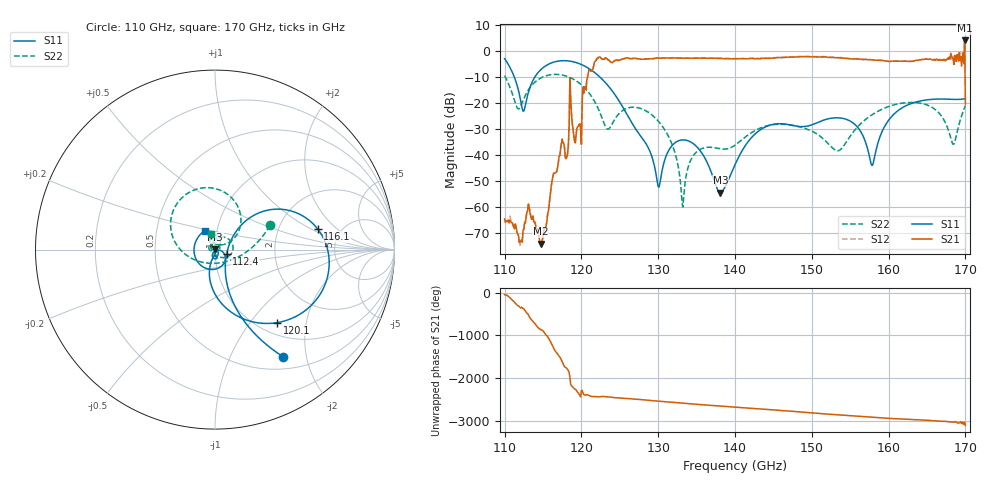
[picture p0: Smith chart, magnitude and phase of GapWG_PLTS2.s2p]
!Keysight Technologies PLTS 2023U1(64 bit), Build 20230630.1
!Deembedding/AFR applied
!FILE: C:\Users\jaha\OneDrive - Nokia\Project\Deacon_v3\Measure\250307 MPW12 GapWG\GapWG_Line2.s2p
!$DUT_CFG_DESC: Default 2-Port Configuration
!$NUMBER_PORTS: 2
!$DIFF_PORT_MAP: 1|1P|2|1P|
!$PORT_MAP: 1|1|<<<<<<|2|2|>>>>>>|
!Date: Thursday, March 20, 2025, 10:12:42
!S2P File: Measurements: S11,S21,S12,S22:
# MHz S  RI  R 50
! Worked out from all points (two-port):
!   601 points, 110 GHz to 170 GHz, reference 50 ohm
!   highest |S21| = 3.95 dB at 169.9 GHz (marker M1); lowest = -74.1 dB at 114.7 GHz (marker M2)
!   |S21| within 3 dB of the highest: 169.8656 GHz to 169.9123 GHz (46.73 MHz wide, 0.0275 % of centre)
!   lowest |S11| = -54.4 dB at 138.1 GHz (marker M3), VSWR 1.00, Z = 50.1 + j0.131 ohm
!   |S11| at or under -10 dB: 111.2 GHz to 114 GHz (2.711 GHz wide, 2.41 % of centre); 122.4 GHz to end of sweep
!   |S22| runs from -60.0 to -9.1 dB; largest |S21 - S12| = 0.48
!   S11 on the Smith chart (normalised r, x): 110 GHz: 0.68, -1.61; 112.4 GHz: 1.14, -0.06; 116.1 GHz: 3.36, +1.17; 120.1 GHz: 1.21, -1.38; 170 GHz: 0.87, +0.19
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110000  0.3776 -0.5958  0.000399 -0.000436  0.000267 -0.000537  0.3059 0.1351
112400  0.0644 -0.0259  0.000353 -7.84e-05  0.000329 -4.71e-05  -0.0888 -0.0658
113200  0.1318 0.12  -0.000924 0.000371  -0.000881 0.000378  -0.1868 -0.00711
114700  0.368 0.2249  -0.000162 -0.000114  -0.000175 -0.000107  -0.2451 0.1712
116100  0.5723 0.1146  -0.000724 -0.00263  -0.000844 -0.00246  -0.1576 0.3102
118600  0.5606 -0.2838  0.1158 0.0523  0.1208 0.0434  0.0942 0.2869
120000  0.364 -0.4035  -0.00704 -0.0144  -0.00702 -0.0145  0.1446 0.1675
120100  0.3482 -0.4065  -0.0545 -0.09  -0.0544 -0.0912  0.1446 0.1588
122200  0.0637 -0.3273  -0.00545 0.7471  0.0823 0.7483  0.0684 0.0352
130000  -0.00226 -0.000997  0.7103 -0.1113  0.7147 -0.1385  0.0292 0.0339
133200  0.00744 0.018  0.4083 -0.5948  0.4368 -0.5853  -0.000367 0.000933
134800  0.0111 0.0107  0.1357 -0.7081  0.1653 -0.7074  -0.0106 0.00114
138100  0.00138 0.0013  -0.3914 -0.5927  -0.3915 -0.6005  -0.013 0.0016
140000  0.00638 0.00104  -0.6051 -0.353  -0.5782 -0.4045  -0.0149 -0.00401
150000  0.00943 -0.0366  0.1436 0.7498  -0.128 0.7615  0.0265 0.0106
155100  -0.0129 -0.0419  0.6839 0.1279  0.6392 0.2985  -0.0203 0.0128
157900  0.00358 -0.00523  0.6044 -0.2695  0.6677 -0.00492  0.00348 0.0597
160000  0.0441 -0.0138  0.3985 -0.4771  0.5307 -0.3361  0.0488 0.0695
165500  -0.0523 -0.1038  -0.1453 -0.6725  0.1548 -0.6621  0.0761 -0.0364
168400  -0.1153 0.0166  -0.5251 -0.4477  -0.2972 -0.6835  -0.0128 -0.00964
169900  -0.0647 0.1004  -1.218 -0.999  -0.8075 -0.985  -0.0262 0.0771
170000  -0.0584 0.1051  -0.0781 0.0545  -0.268 -0.3594  -0.0247 0.0851
